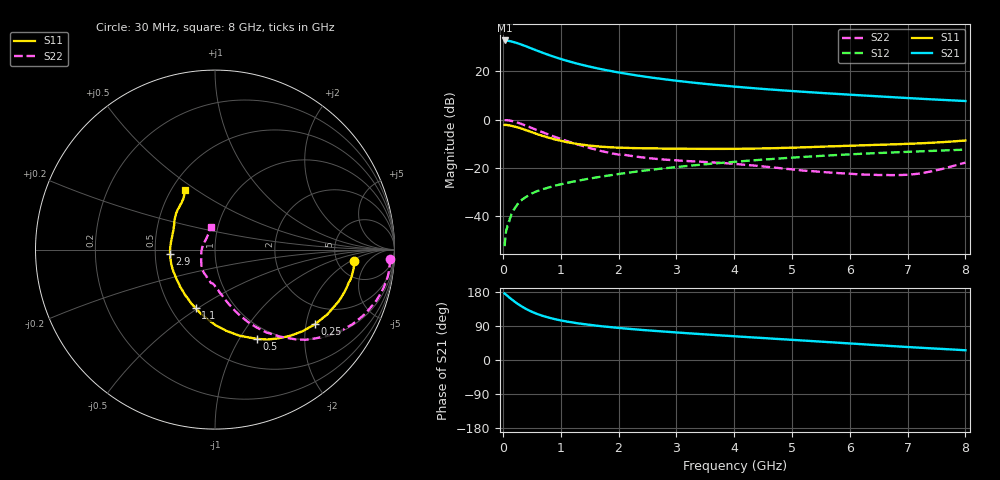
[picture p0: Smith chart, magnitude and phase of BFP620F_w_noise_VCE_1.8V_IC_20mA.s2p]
! Infineon Technologies  Discrete & RF Semiconductors
! BFP620F
! VCE =  1.8 V,  IC =  20 mA
! Common Emitter S-Parameters:  Dec 2014
# GHz  S  MA  R  50
!  f  S11  S21  S12  S22
! GHz  MAG  ANG  MAG  ANG  MAG  ANG  MAG  ANG
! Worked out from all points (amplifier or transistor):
!   95 points, 30 MHz to 8 GHz, reference 50 ohm
!   highest |S21| = 32.8 dB at 30 MHz (marker M1)
!   |S21| within 3 dB of that: start of sweep to 461.8 MHz
!   unconditionally stable (mu >= 1): 2.959 GHz to end of sweep
!   at 300 MHz: K = 0.30, MSG = 32.5 dB, |S12| = -33.8 dB
!   at 3.3 GHz: K = 1.01, MAG = 16.5 dB, |S12| = -18.9 dB
!   at 8 GHz: K = 1.07, MAG = 8.5 dB, |S12| = -12.4 dB
!   lowest NFmin = 0.84 dB at 450 MHz
!   S11 on the Smith chart (normalised r, x): 30 MHz: 7.32, -2.27; 250 MHz: 1.40, -2.26; 500 MHz: 0.84, -1.19; 1.1 GHz: 0.66, -0.49; 2.9 GHz: 0.60, -0.03; 8 GHz: 0.58, +0.45
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0.03  0.7788 -4.5  43.76 175.6  0.0024 93.6  0.9751 -3.0
0.08  0.7735 -12.5  43.28 169.0  0.0064 89.5  0.9732 -9.3
0.13  0.7538 -20.0  42.16 162.6  0.0094 80.5  0.9523 -15.4
0.2  0.7229 -29.9  40.07 154.4  0.0143 76.9  0.91 -23.2
0.25  0.6955 -36.7  38.46 148.8  0.0175 73.5  0.873 -28.3
0.3  0.6672 -43.0  36.71 143.8  0.0205 70.2  0.8334 -33.1
0.4  0.6056 -54.8  33.17 134.8  0.0251 67.3  0.7497 -41.2
0.5  0.5499 -64.8  29.73 127.4  0.0297 65.3  0.6736 -48.0
0.6  0.4995 -74.0  26.68 121.1  0.0333 63.3  0.6024 -53.5
0.7  0.4573 -82.0  24.05 115.9  0.0367 61.7  0.5414 -58.3
0.8  0.4216 -89.4  21.75 111.6  0.0396 61.1  0.4874 -62.2
0.9  0.3905 -96.0  19.8 107.8  0.0429 60.5  0.4408 -65.7
1.1  0.3437 -108.2  16.67 101.6  0.0487 59.9  0.364 -71.5
1.4  0.3015 -124.1  13.4 94.7  0.0575 59.6  0.2817 -78.8
1.7  0.2754 -137.7  11.14 89.2  0.0662 59.4  0.2243 -85.8
2  0.2634 -149.2  9.53 84.7  0.0749 58.8  0.1894 -93.7
2.7  0.2535 -169.7  7.11 76.0  0.0958 56.4  0.1524 -109.7
2.9  0.252 -174.4  6.627 73.8  0.1015 55.6  0.1461 -113.4
4.1  0.2497 162.7  4.737 61.7  0.1369 49.9  0.1189 -129.2
5.4  0.2728 146.2  3.65 49.4  0.175 42.1  0.085 -155.2
6.7  0.307 131.5  2.943 37.0  0.2086 33.3  0.0712 157.4
8  0.3707 117.1  2.436 25.7  0.2394 24.6  0.1291 100.7
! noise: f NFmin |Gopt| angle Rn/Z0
0.45  0.84  0.05  2  0.21
0.9  0.9  0.04  6  0.18
1.5  0.94  0.04  8  0.15
1.8  0.96  0.04  9  0.15
1.9  0.97  0.01  28  0.15
2.4  1.01  0.01  88  0.15
3.5  1.08  0.04  -178  0.15
5.5  1.22  0.15  230  0.1
6  1.25  0.15  253  0.14
